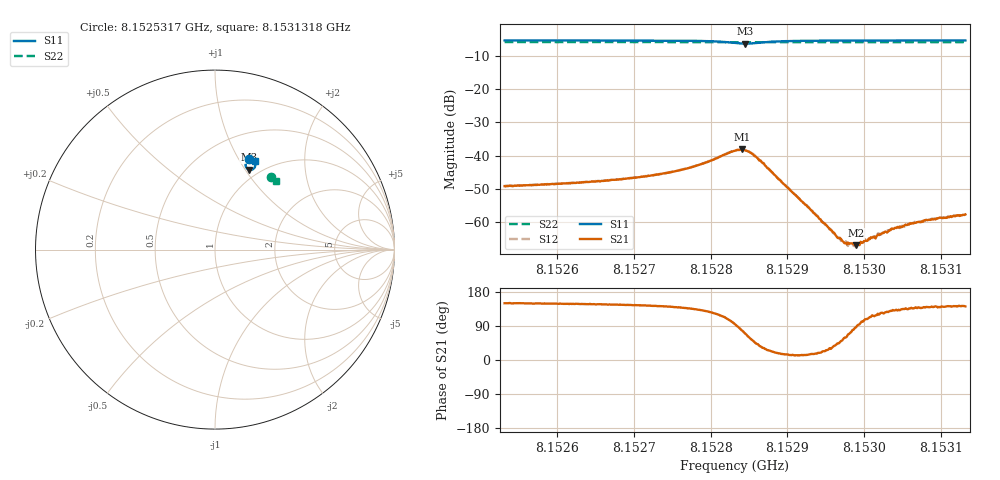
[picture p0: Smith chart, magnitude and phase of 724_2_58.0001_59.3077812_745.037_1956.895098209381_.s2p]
#  HZ  S  RI  R  50.00
! Rohde & Schwarz Vector Network Analyzer
! Rohde-Schwarz,ZNB20-2Port,1311601062101988,3.16
! Created: UTC 3/21/2024, 1:22:48 AM
! freq[Hz]  re:S11  im:S11  re:S21  im:S21  re:S12  im:S12  re:S22  im:S22
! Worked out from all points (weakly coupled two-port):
!   401 points, 8.1525317 GHz to 8.1531318 GHz, reference 50 ohm
!   highest |S21| = -38.18 dB at 8.1528408 GHz (marker M1); lowest = -67.1 dB at 8.1529893 GHz (marker M2)
!   lowest |S11| = -6.3 dB at 8.1528453 GHz (marker M3), VSWR 2.88, Z = 44.6 + j51.9 ohm
!   |S11| at or under -10 dB: nowhere
!   |S22| runs from -5.9 to -5.8 dB; largest |S21 - S12| = 0.00038
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8.15253173e9  0.1921 0.5051  -0.00298 0.00174  -0.00301 0.00181  0.3124 0.4045
8.15263225e9  0.2008 0.5015  -0.00333 0.00209  -0.00334 0.00213  0.3175 0.4004
8.15268925e9  0.2068 0.4985  -0.00368 0.00256  -0.0037 0.00263  0.3204 0.3979
8.15273276e9  0.2123 0.4949  -0.00411 0.00318  -0.00412 0.00327  0.3226 0.396
8.15278076e9  0.2205 0.4857  -0.00482 0.00501  -0.00481 0.00513  0.3249 0.3936
8.15283177e9  0.2119 0.4483  -0.000892 0.0118  -0.000873 0.0119  0.3264 0.3904
8.15284077e9  0.1962 0.4441  0.00259 0.0121  0.00267 0.012  0.3262 0.3901
8.15284527e9  0.1876 0.4461  0.0042 0.0112  0.00437 0.0112  0.326 0.3902
8.15285127e9  0.178 0.4528  0.00601 0.00939  0.00609 0.00945  0.3261 0.3903
8.15285877e9  0.1717 0.4641  0.00694 0.00675  0.00706 0.00677  0.3264 0.3904
8.15288578e9  0.1794 0.4907  0.00452 0.00154  0.00456 0.00148  0.3284 0.3902
8.15293228e9  0.1963 0.4982  0.0014 0.000401  0.00143 0.00037  0.3312 0.3884
8.15296228e9  0.2024 0.4983  0.000505 0.0004  0.000525 0.000381  0.3329 0.3872
8.15297429e9  0.2043 0.4982  0.000248 0.000409  0.000274 0.000426  0.3334 0.3867
8.15298029e9  0.2051 0.4981  0.00017 0.000436  0.000184 0.000441  0.3337 0.3864
8.15298929e9  0.2066 0.4979  3.18e-05 0.000443  2.95e-05 0.000462  0.3341 0.3859
8.15299529e9  0.2072 0.4976  -6.76e-05 0.000497  -6.46e-05 0.000483  0.3345 0.3857
8.15303279e9  0.2117 0.4966  -0.000465 0.000587  -0.000432 0.000602  0.3362 0.3841
8.1530598e9  0.2146 0.4959  -0.000684 0.000662  -0.000675 0.000684  0.3375 0.3828
8.1530808e9  0.2164 0.4952  -0.000824 0.00069  -0.000791 0.000685  0.3386 0.382
8.1531123e9  0.2192 0.4942  -0.000957 0.000755  -0.000961 0.00077  0.3401 0.3804
8.1531318e9  0.2209 0.4936  -0.00101 0.000806  -0.001 0.000813  0.3411 0.3799
